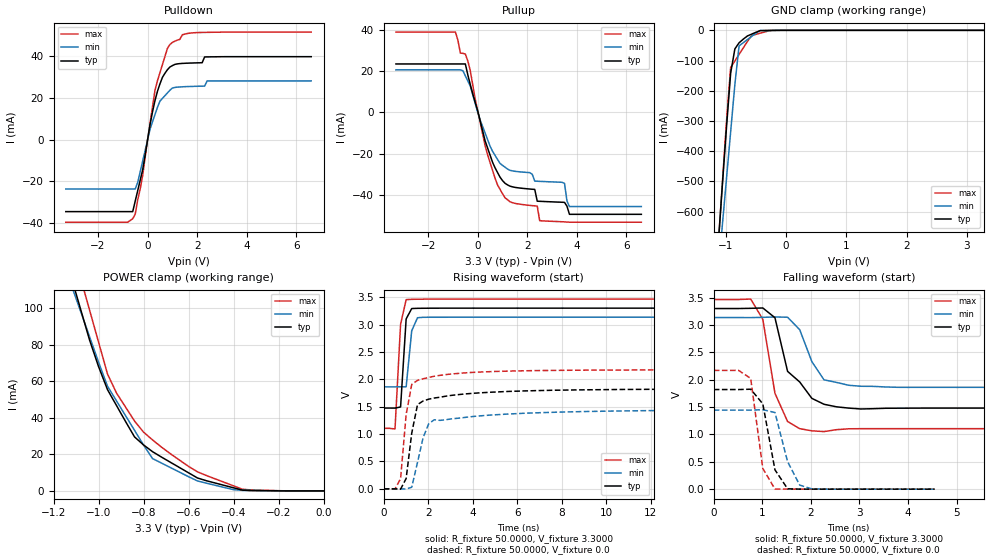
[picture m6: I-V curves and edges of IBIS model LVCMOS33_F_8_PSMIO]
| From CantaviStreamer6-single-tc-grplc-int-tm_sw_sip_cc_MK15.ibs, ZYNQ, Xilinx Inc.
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[Model]  LVCMOS33_F_8_PSMIO
Model_type I/O
Polarity   Non-Inverting
Enable   Active-Low
Vinl = 0.8
Vinh = 2.0
Vmeas =  1.6500V
Cref =   0.0F
Rref =   1.0000M
Vref =   0.0V
C_comp   2.5pF   2.49pF   2.5pF
[Temperature Range]   25.0000   85.0000   0.0
[Voltage Range]   3.3000V   3.1350V   3.46500V
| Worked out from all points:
|   slope of the pulldown table from 0 to 0.495 V, typ, clamps not added: 18.6 ohm
|   slope of the pullup table from 0 to 0.495 V, typ, clamps not added: 23.2 ohm
|   GND clamp passes 1 mA (typ) near -0.43 V on its own axis
|   POWER clamp passes 1 mA (typ) near -0.38 V on its own axis
|   rising waveform, R_fixture 50.0000, V_fixture 3.3000: 20-80 % time 170ps typ, 187ps min, 185ps max; typ from 1.48 V to 3.3 V
|   rising waveform, R_fixture 50.0000, V_fixture 0.0: 20-80 % time 417ps typ, 582ps min, 370ps max; typ from 0 V to 1.82 V
|   falling waveform, R_fixture 50.0000, V_fixture 3.3000: 20-80 % time 553ps typ, 398ps min, 318ps max; typ from 3.3 V to 1.48 V
|   falling waveform, R_fixture 50.0000, V_fixture 0.0: 20-80 % time 226ps typ, 314ps min, 198ps max; typ from 1.82 V to 0 V
[Pulldown]
|Voltage   I(typ)   I(min)   I(max)
-3.3V     -34.48mA   -23.66mA   -39.54mA
-600mV    -34.48mA   -23.66mA   -37.87mA
-400mV    -24.48mA   -20.53mA   -28.91mA
-200mV    -14.52mA   -10.36mA   -17.21mA
300mV     18.76mA    12.05mA    23.72mA
600mV     29.82mA    19.73mA    35.96mA
800mV     33.43mA    22.31mA    43.66mA
1V        35.39mA    24.65mA    46.47mA
1.8V      36.63mA    25.42mA    51.05mA
2.3V      39.53mA    25.57mA    51.27mA
2.4V      39.55mA    28.06mA    51.29mA
6.6V      39.65mA    28.06mA    51.42mA
[Pullup]
|Voltage   I(typ)   I(min)   I(max)
-3.3V     23.51mA    20.65mA    38.99mA
-900mV    23.51mA    20.65mA    38.99mA
-700mV    23.51mA    20.65mA    28.77mA
-500mV    23.51mA    17.74mA    28.34mA
300mV     -13.93mA   -10.13mA   -16.34mA
700mV     -26.97mA   -20.93mA   -32.05mA
1.3V      -35.84mA   -28.16mA   -43.42mA
2.4V      -43.16mA   -33.47mA   -45.54mA
2.5V      -43.22mA   -33.53mA   -52.66mA
3.5V      -43.73mA   -34.48mA   -53.21mA
3.7V      -49.54mA   -45.76mA   -53.36mA
6.6V      -49.54mA   -45.76mA   -53.36mA
[GND_clamp]
|Voltage   I(typ)   I(min)   I(max)
-3.3V     -22.09A    -20.54A    -23.08A
-1.13V    -720.8mA   -823mA     -721.1mA
-1.06V    -519.2mA   -649.8mA   -513mA
-990mV    -324mA     -492.9mA   -305mA
-920mV    -141.8mA   -336mA     -123mA
-850mV    -61.46mA   -179mA     -101.4mA
-780mV    -41.22mA   -51.44mA   -79.68mA
-640mV    -18.45mA   -30.35mA   -36.31mA
-570mV    -12.44mA   -19.81mA   -17.13mA
-430mV    -899.2uA   -798.8uA   -9.486mA
-220mV    -277uA     -299.6uA   -9.069uA
3.28V     572.8nA    1.414uA    4.977nA
[POWER_clamp]
|Voltage   I(typ)   I(min)   I(max)
-3.28V    23.58A     21.83A     24.68A
-1.12V    116.7mA    112.5mA    134.3mA
-1.08V    99.74mA    98.56mA    116.8mA
-1.04V    82.77mA    84.62mA    99.21mA
-1V       68.2mA     70.67mA    81.64mA
-960mV    55.49mA    57.38mA    64.08mA
-920mV    46.79mA    49.33mA    53.63mA
-840mV    29.62mA    33.23mA    38.33mA
-760mV    21.52mA    17.74mA    27.97mA
-560mV    7.082mA    5.47mA     10.45mA
-360mV    431.4uA    316.9uA    906.9uA
0V        5.965nA    55.93nA    7.234nA
[Ramp]
| variable   typ   min   max
dV/dt_r  1.0932/0.4084n   0.8676/0.5778n   1.3026/0.3702n
dV/dt_f  1.089/0.3847n   0.765/0.4582n   1.4160/0.3143n
R_load = 50.0000
[Rising Waveform]
R_fixture= 50.0000
V_fixture= 3.3000
V_fixture_min= 3.1350
V_fixture_max= 3.4500
|time   V(typ)   V(min)   V(max)
0s        1.475V     1.862V     1.105V
510ps     1.474V     1.862V     1.093V
760ps     1.495V     1.863V     3.004V
1.01ns    3.103V     1.863V     3.455V
1.26ns    3.292V     2.886V     3.46V
1.52ns    3.296V     3.124V     3.462V
3.03ns    3.299V     3.134V     3.464V
19.7ns    3.3V       3.135V     3.465V
[Rising Waveform]
R_fixture= 50.0000
V_fixture= 0.0
|time   V(typ)   V(min)   V(max)
0s        0V         0V         0V
510ps     0V         -145.1uV   -4.209mV
760ps     -6.048mV   408.8uV    185mV
1.01ns    188.7mV    -3.986mV   1.359V
1.26ns    1.014V     28.87mV    1.904V
1.52ns    1.538V     482.8mV    1.981V
1.77ns    1.604V     932.8mV    2.009V
2.27ns    1.658V     1.261V     2.056V
7.58ns    1.8V       1.397V     2.162V
25ns      1.822V     1.446V     2.171V
[Falling Waveform]
R_fixture= 50.0000
V_fixture= 3.3000
V_fixture_min= 3.1350
V_fixture_max= 3.4500
|time   V(typ)   V(min)   V(max)
0s        3.3V       3.135V     3.465V
760ps     3.304V     3.134V     3.473V
1.01ns    3.31V      3.139V     3.102V
1.26ns    3.132V     3.146V     1.751V
1.52ns    2.152V     3.141V     1.236V
1.77ns    1.958V     2.913V     1.105V
2.02ns    1.659V     2.33V      1.066V
2.27ns    1.551V     1.998V     1.052V
3.03ns    1.465V     1.88V      1.105V
15.15ns   1.48V      1.86V      1.105V
[Falling Waveform]
R_fixture= 50.0000
V_fixture= 0.0
|time   V(typ)   V(min)   V(max)
0s        1.82V      1.444V     2.17V
510ps     1.82V      1.444V     2.17V
760ps     1.826V     1.444V     2.024V
1.01ns    1.559V     1.452V     376.2mV
1.26ns    353mV      1.4V       3.239mV
1.52ns    7.054mV    502.6mV    498.4uV
1.77ns    705.7uV    74.02mV    186.7uV
2.02ns    289.4uV    4.601mV    0V
4.55ns    0V         0V         0V
